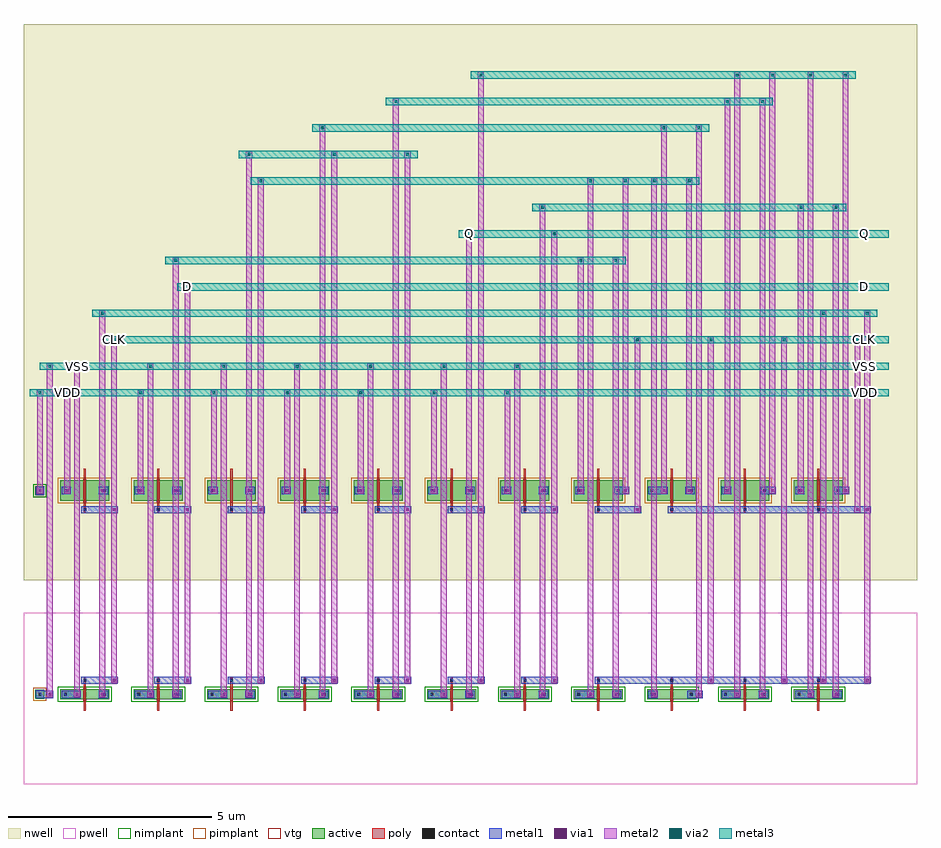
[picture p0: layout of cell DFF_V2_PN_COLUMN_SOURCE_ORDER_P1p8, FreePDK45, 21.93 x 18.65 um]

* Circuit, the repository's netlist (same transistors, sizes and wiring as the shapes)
* cell DFF_V2_PN_COLUMN_SOURCE_ORDER_P1p8
* pin Q
* pin D
* pin CLK
* pin VDD
* pin VSS
.SUBCKT DFF_V2_PN_COLUMN_SOURCE_ORDER_P1p8 5 7 10 11 12
* net 5 Q
* net 7 D
* net 10 CLK
* net 11 VDD
* net 12 VSS
* device instance $1 r0 *1 19.2,7 PMOS_VTG
M$1 9 10 6 11 PMOS_VTG L=0.05U W=0.5U AS=0.2875P AD=0.2875P PS=2.15U PD=2.15U
* device instance $2 r0 *1 17.4,7 PMOS_VTG
M$2 9 10 4 11 PMOS_VTG L=0.05U W=0.5U AS=0.2875P AD=0.2875P PS=2.15U PD=2.15U
* device instance $3 r0 *1 15.6,7 PMOS_VTG
M$3 8 10 3 11 PMOS_VTG L=0.05U W=0.5U AS=0.2875P AD=0.2875P PS=2.15U PD=2.15U
* device instance $4 r0 *1 13.8,7 PMOS_VTG
M$4 8 10 1 11 PMOS_VTG L=0.05U W=0.5U AS=0.2875P AD=0.2875P PS=2.15U PD=2.15U
* device instance $5 r0 *1 12,7 PMOS_VTG
M$5 6 5 11 11 PMOS_VTG L=0.05U W=0.5U AS=0.2875P AD=0.2875P PS=2.15U PD=2.15U
* device instance $6 r0 *1 1.2,7 PMOS_VTG
M$6 10 10 11 11 PMOS_VTG L=0.05U W=0.5U AS=0.2875P AD=0.2875P PS=2.15U PD=2.15U
* device instance $7 r0 *1 10.2,7 PMOS_VTG
M$7 5 9 11 11 PMOS_VTG L=0.05U W=0.5U AS=0.2875P AD=0.2875P PS=2.15U PD=2.15U
* device instance $8 r0 *1 3,7 PMOS_VTG
M$8 1 7 11 11 PMOS_VTG L=0.05U W=0.5U AS=0.2875P AD=0.2875P PS=2.15U PD=2.15U
* device instance $9 r0 *1 4.8,7 PMOS_VTG
M$9 2 8 11 11 PMOS_VTG L=0.05U W=0.5U AS=0.2875P AD=0.2875P PS=2.15U PD=2.15U
* device instance $10 r0 *1 6.6,7 PMOS_VTG
M$10 3 2 11 11 PMOS_VTG L=0.05U W=0.5U AS=0.2875P AD=0.2875P PS=2.15U PD=2.15U
* device instance $11 r0 *1 8.4,7 PMOS_VTG
M$11 4 2 11 11 PMOS_VTG L=0.05U W=0.5U AS=0.2875P AD=0.2875P PS=2.15U PD=2.15U
* device instance $12 r0 *1 19.2,2 NMOS_VTG
M$12 6 10 9 12 NMOS_VTG L=0.05U W=0.25U AS=0.14375P AD=0.14375P PS=1.65U
+ PD=1.65U
* device instance $13 r0 *1 15.6,2 NMOS_VTG
M$13 3 10 8 12 NMOS_VTG L=0.05U W=0.25U AS=0.14375P AD=0.14375P PS=1.65U
+ PD=1.65U
* device instance $14 r0 *1 13.8,2 NMOS_VTG
M$14 1 10 8 12 NMOS_VTG L=0.05U W=0.25U AS=0.14375P AD=0.14375P PS=1.65U
+ PD=1.65U
* device instance $15 r0 *1 12,2 NMOS_VTG
M$15 6 5 12 12 NMOS_VTG L=0.05U W=0.25U AS=0.14375P AD=0.14375P PS=1.65U
+ PD=1.65U
* device instance $16 r0 *1 1.2,2 NMOS_VTG
M$16 10 10 12 12 NMOS_VTG L=0.05U W=0.25U AS=0.14375P AD=0.14375P PS=1.65U
+ PD=1.65U
* device instance $17 r0 *1 17.4,2 NMOS_VTG
M$17 4 10 9 12 NMOS_VTG L=0.05U W=0.25U AS=0.14375P AD=0.14375P PS=1.65U
+ PD=1.65U
* device instance $18 r0 *1 6.6,2 NMOS_VTG
M$18 3 2 12 12 NMOS_VTG L=0.05U W=0.25U AS=0.14375P AD=0.14375P PS=1.65U
+ PD=1.65U
* device instance $19 r0 *1 3,2 NMOS_VTG
M$19 1 7 12 12 NMOS_VTG L=0.05U W=0.25U AS=0.14375P AD=0.14375P PS=1.65U
+ PD=1.65U
* device instance $20 r0 *1 10.2,2 NMOS_VTG
M$20 5 9 12 12 NMOS_VTG L=0.05U W=0.25U AS=0.14375P AD=0.14375P PS=1.65U
+ PD=1.65U
* device instance $21 r0 *1 4.8,2 NMOS_VTG
M$21 2 8 12 12 NMOS_VTG L=0.05U W=0.25U AS=0.14375P AD=0.14375P PS=1.65U
+ PD=1.65U
* device instance $22 r0 *1 8.4,2 NMOS_VTG
M$22 4 2 12 12 NMOS_VTG L=0.05U W=0.25U AS=0.14375P AD=0.14375P PS=1.65U
+ PD=1.65U
.ENDS DFF_V2_PN_COLUMN_SOURCE_ORDER_P1p8

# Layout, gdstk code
import gdstk
lib = gdstk.Library(unit=1e-6, precision=5e-10)
def R(c, l, rs):  # rectangles x0, y0, x1, y1
    for r in rs: c.add(gdstk.rectangle(r[:2], r[2:], *l))
def A(c, l, x, y, w, h, nx, ny, dx, dy):  # array of equal rectangles
    R(c, l, [(x+i*dx, y+j*dy, x+i*dx+w, y+j*dy+h) for i in range(nx) for j in range(ny)])
active = (1, 0)
pwell = (2, 0)
nwell = (3, 0)
nimplant = (4, 0)
pimplant = (5, 0)
vtg = (6, 0)
poly = (9, 0)
contact = (10, 0)
metal1 = (11, 0)
via1 = (12, 0)
metal2 = (13, 0)
via2 = (14, 0)
metal3 = (15, 0)

dff_v2_pn_column_source_ = lib.new_cell('DFF_V2_PN_COLUMN_SOURCE_ORDER_P1p8')
A(dff_v2_pn_column_source_, active, 0.6, 1.875, 1.2, 0.25, 11, 1, 1.8, 0)
A(dff_v2_pn_column_source_, active, 0.6, 6.75, 1.2, 0.5, 11, 1, 1.8, 0)
R(dff_v2_pn_column_source_, active, [(-0.01,1.89,0.21,2.11), (-0.01,6.89,0.21,7.11)])
R(dff_v2_pn_column_source_, pwell, [(-0.3,-0.2,21.63,4)])
R(dff_v2_pn_column_source_, nwell, [(-0.3,4.8,21.63,18.45)])
A(dff_v2_pn_column_source_, nimplant, 0.54, 1.815, 1.32, 0.37, 11, 1, 1.8, 0)
R(dff_v2_pn_column_source_, nimplant, [(-0.06,6.84,0.26,7.16)])
A(dff_v2_pn_column_source_, pimplant, 0.54, 6.69, 1.32, 0.62, 11, 1, 1.8, 0)
R(dff_v2_pn_column_source_, pimplant, [(-0.06,1.84,0.26,2.16)])
A(dff_v2_pn_column_source_, vtg, 1.165, 1.845, 0.07, 0.31, 11, 1, 1.8, 0)
A(dff_v2_pn_column_source_, vtg, 1.165, 6.72, 0.07, 0.56, 11, 1, 1.8, 0)
A(dff_v2_pn_column_source_, poly, 1.175, 1.595, 0.05, 0.81, 11, 1, 1.8, 0)
A(dff_v2_pn_column_source_, poly, 1.175, 6.47, 0.05, 1.06, 11, 1, 1.8, 0)
A(dff_v2_pn_column_source_, contact, 1.17, 2.315, 0.065, 0.065, 11, 2, 1.8, 4.185)
R(dff_v2_pn_column_source_, contact, [(0.07,1.97,0.135,2.035), (0.69,1.97,0.755,2.035), (1.65,1.97,1.715,2.035), (2.49,1.97,2.555,2.035), (3.45,1.97,3.515,2.035), (4.29,1.97,4.355,2.035), (5.25,1.97,5.315,2.035), (6.09,1.97,6.155,2.035), (7.05,1.97,7.115,2.035), (7.89,1.97,7.955,2.035), (8.85,1.97,8.915,2.035), (9.69,1.97,9.755,2.035), (10.65,1.97,10.715,2.035), (11.49,1.97,11.555,2.035), (12.45,1.97,12.515,2.035), (13.29,1.97,13.355,2.035), (14.25,1.97,14.315,2.035), (15.09,1.97,15.155,2.035), (16.05,1.97,16.115,2.035), (16.89,1.97,16.955,2.035), (17.85,1.97,17.915,2.035), (18.69,1.97,18.755,2.035), (19.65,1.97,19.715,2.035), (0.07,6.97,0.135,7.035), (0.69,6.97,0.755,7.035), (1.65,6.97,1.715,7.035), (2.49,6.97,2.555,7.035), (3.45,6.97,3.515,7.035), (4.29,6.97,4.355,7.035), (5.25,6.97,5.315,7.035), (6.09,6.97,6.155,7.035), (7.05,6.97,7.115,7.035), (7.89,6.97,7.955,7.035), (8.85,6.97,8.915,7.035), (9.69,6.97,9.755,7.035), (10.65,6.97,10.715,7.035), (11.49,6.97,11.555,7.035), (12.45,6.97,12.515,7.035), (13.29,6.97,13.355,7.035), (14.25,6.97,14.315,7.035), (15.09,6.97,15.155,7.035), (16.05,6.97,16.115,7.035), (16.89,6.97,16.955,7.035), (17.85,6.97,17.915,7.035), (18.69,6.97,18.755,7.035), (19.65,6.97,19.715,7.035)])
A(dff_v2_pn_column_source_, metal1, 0.77, 1.91, 0.24, 0.18, 8, 1, 1.8, 0)
A(dff_v2_pn_column_source_, metal1, 1.2, 2.255, 0.72, 0.18, 7, 2, 1.8, 4.185)
A(dff_v2_pn_column_source_, metal1, 15.51, 6.44, 0.18, 0.18, 3, 1, 1.8, 0)
R(dff_v2_pn_column_source_, metal1, [(0,1.9,0.2,2.1), (0.1,1.91,0.34,2.09), (0.1,1.91,0.34,2.09), (0.1,1.91,0.34,2.09), (0.1,1.91,0.34,2.09), (0.1,1.91,0.34,2.09), (0.1,1.91,0.34,2.09), (0.1,1.91,0.34,2.09), (0.1,1.91,0.34,2.09), (0.1,1.91,0.34,2.09), (0.1,1.91,0.34,2.09), (0.1,1.91,0.34,2.09), (0.1,1.91,0.34,2.09), (0.25,1.91,0.43,2.09), (0.25,1.91,0.43,2.09), (0.25,1.91,0.43,2.09), (0.25,1.91,0.43,2.09), (0.25,1.91,0.43,2.09), (0.25,1.91,0.43,2.09), (0.25,1.91,0.43,2.09), (0.25,1.91,0.43,2.09), (0.25,1.91,0.43,2.09), (0.25,1.91,0.43,2.09), (0.25,1.91,0.43,2.09), (0.25,1.91,0.43,2.09), (0.63,1.91,0.81,2.09), (0.92,1.91,1.1,2.09), (1.54,1.91,1.72,2.09), (1.59,1.91,1.77,2.09), (2.43,1.91,2.61,2.09), (2.72,1.91,2.9,2.09), (3.34,1.91,3.52,2.09), (3.39,1.91,3.57,2.09), (4.23,1.91,4.41,2.09), (4.52,1.91,4.7,2.09), (5.14,1.91,5.32,2.09), (5.19,1.91,5.37,2.09), (6.03,1.91,6.21,2.09), (6.32,1.91,6.5,2.09), (6.94,1.91,7.12,2.09), (6.99,1.91,7.17,2.09), (7.83,1.91,8.01,2.09), (8.12,1.91,8.3,2.09), (8.74,1.91,8.92,2.09), (8.79,1.91,8.97,2.09), (9.63,1.91,9.81,2.09), (9.92,1.91,10.1,2.09), (10.54,1.91,10.72,2.09), (10.59,1.91,10.77,2.09), (11.43,1.91,11.61,2.09), (11.72,1.91,11.9,2.09), (12.34,1.91,12.52,2.09), (12.39,1.91,12.57,2.09), (13.23,1.91,13.41,2.09), (13.52,1.91,13.7,2.09), (14.14,1.91,14.32,2.09), (14.19,1.91,14.37,2.09), (15.03,1.91,15.21,2.09), (15.08,1.91,15.26,2.09), (15.99,1.91,16.17,2.09), (16.03,1.91,16.27,2.09), (16.18,1.91,16.36,2.09), (16.83,1.91,17.01,2.09), (16.97,1.91,17.21,2.09), (17.12,1.91,17.3,2.09), (17.74,1.91,17.92,2.09), (17.79,1.91,17.97,2.09), (18.63,1.91,18.81,2.09), (18.77,1.91,19.01,2.09), (18.92,1.91,19.1,2.09), (19.54,1.91,19.72,2.09), (19.59,1.91,19.77,2.09), (1.11,2.255,1.29,2.435), (1.83,2.255,2.01,2.435), (2.91,2.255,3.09,2.435), (3.63,2.255,3.81,2.435), (4.71,2.255,4.89,2.435), (5.43,2.255,5.61,2.435), (6.51,2.255,6.69,2.435), (7.23,2.255,7.41,2.435), (8.31,2.255,8.49,2.435), (9.03,2.255,9.21,2.435), (10.11,2.255,10.29,2.435), (10.83,2.255,11.01,2.435), (11.91,2.255,12.09,2.435), (12.63,2.255,12.81,2.435), (13.71,2.255,13.89,2.435), (13.8,2.255,19.32,2.435), (15.51,2.255,15.69,2.435), (15.6,2.255,16.56,2.435), (16.47,2.255,16.65,2.435), (17.31,2.255,17.49,2.435), (17.4,2.255,18.36,2.435), (18.27,2.255,18.45,2.435), (19.11,2.255,19.29,2.435), (19.2,2.255,20.4,2.435), (19.23,2.255,19.41,2.435), (20.31,2.255,20.49,2.435), (1.11,6.44,1.29,6.62), (1.83,6.44,2.01,6.62), (2.91,6.44,3.09,6.62), (3.63,6.44,3.81,6.62), (4.71,6.44,4.89,6.62), (5.43,6.44,5.61,6.62), (6.51,6.44,6.69,6.62), (7.23,6.44,7.41,6.62), (8.31,6.44,8.49,6.62), (9.03,6.44,9.21,6.62), (10.11,6.44,10.29,6.62), (10.83,6.44,11.01,6.62), (11.91,6.44,12.09,6.62), (12.63,6.44,12.81,6.62), (13.71,6.44,13.89,6.62), (13.8,6.44,14.76,6.62), (14.67,6.44,14.85,6.62), (15.6,6.44,20.4,6.62), (17.4,6.44,19.32,6.62), (19.2,6.44,20.16,6.62), (19.23,6.44,19.41,6.62), (20.07,6.44,20.25,6.62), (20.31,6.44,20.49,6.62), (0,6.9,0.2,7.1), (0.01,6.91,0.19,7.09), (0.01,6.91,0.19,7.09), (0.01,6.91,0.19,7.09), (0.01,6.91,0.19,7.09), (0.01,6.91,0.19,7.09), (0.01,6.91,0.19,7.09), (0.01,6.91,0.19,7.09), (0.01,6.91,0.19,7.09), (0.01,6.91,0.19,7.09), (0.01,6.91,0.19,7.09), (0.01,6.91,0.19,7.09), (0.01,6.91,0.19,7.09), (0.63,6.91,0.81,7.09), (0.68,6.91,0.86,7.09), (1.54,6.91,1.72,7.09), (1.59,6.91,1.77,7.09), (2.43,6.91,2.61,7.09), (2.48,6.91,2.66,7.09), (3.34,6.91,3.52,7.09), (3.39,6.91,3.57,7.09), (4.23,6.91,4.41,7.09), (4.28,6.91,4.46,7.09), (5.14,6.91,5.32,7.09), (5.19,6.91,5.37,7.09), (6.03,6.91,6.21,7.09), (6.08,6.91,6.26,7.09), (6.94,6.91,7.12,7.09), (6.99,6.91,7.17,7.09), (7.83,6.91,8.01,7.09), (7.88,6.91,8.06,7.09), (8.74,6.91,8.92,7.09), (8.79,6.91,8.97,7.09), (9.63,6.91,9.81,7.09), (9.68,6.91,9.86,7.09), (10.54,6.91,10.72,7.09), (10.59,6.91,10.77,7.09), (11.43,6.91,11.61,7.09), (11.48,6.91,11.66,7.09), (12.34,6.91,12.52,7.09), (12.39,6.91,12.57,7.09), (13.23,6.91,13.41,7.09), (13.28,6.91,13.46,7.09), (14.19,6.91,14.37,7.09), (14.23,6.91,14.47,7.09), (14.38,6.91,14.56,7.09), (15.03,6.91,15.21,7.09), (15.17,6.91,15.41,7.09), (15.32,6.91,15.5,7.09), (15.94,6.91,16.12,7.09), (15.99,6.91,16.17,7.09), (16.83,6.91,17.01,7.09), (16.88,6.91,17.06,7.09), (17.79,6.91,17.97,7.09), (17.83,6.91,18.07,7.09), (17.98,6.91,18.16,7.09), (18.63,6.91,18.81,7.09), (18.68,6.91,18.86,7.09), (19.59,6.91,19.77,7.09), (19.63,6.91,19.87,7.09), (19.78,6.91,19.96,7.09)])
A(dff_v2_pn_column_source_, via1, 1.89, 2.315, 0.065, 0.065, 7, 2, 1.8, 4.185)
R(dff_v2_pn_column_source_, via1, [(0.31,1.97,0.375,2.035), (0.31,1.97,0.375,2.035), (0.31,1.97,0.375,2.035), (0.31,1.97,0.375,2.035), (0.31,1.97,0.375,2.035), (0.31,1.97,0.375,2.035), (0.31,1.97,0.375,2.035), (0.31,1.97,0.375,2.035), (0.31,1.97,0.375,2.035), (0.31,1.97,0.375,2.035), (0.31,1.97,0.375,2.035), (0.31,1.97,0.375,2.035), (0.98,1.97,1.045,2.035), (1.6,1.97,1.665,2.035), (2.78,1.97,2.845,2.035), (3.4,1.97,3.465,2.035), (4.58,1.97,4.645,2.035), (5.2,1.97,5.265,2.035), (6.38,1.97,6.445,2.035), (7,1.97,7.065,2.035), (8.18,1.97,8.245,2.035), (8.8,1.97,8.865,2.035), (9.98,1.97,10.045,2.035), (10.6,1.97,10.665,2.035), (11.78,1.97,11.845,2.035), (12.4,1.97,12.465,2.035), (13.58,1.97,13.645,2.035), (14.2,1.97,14.265,2.035), (15.14,1.97,15.205,2.035), (16.24,1.97,16.305,2.035), (17.18,1.97,17.245,2.035), (17.8,1.97,17.865,2.035), (18.98,1.97,19.045,2.035), (19.6,1.97,19.665,2.035), (16.53,2.315,16.595,2.38), (18.33,2.315,18.395,2.38), (19.29,2.315,19.355,2.38), (20.37,2.315,20.435,2.38), (14.73,6.5,14.795,6.565), (19.29,6.5,19.355,6.565), (20.13,6.5,20.195,6.565), (20.37,6.5,20.435,6.565), (0.07,6.97,0.135,7.035), (0.07,6.97,0.135,7.035), (0.07,6.97,0.135,7.035), (0.07,6.97,0.135,7.035), (0.07,6.97,0.135,7.035), (0.07,6.97,0.135,7.035), (0.07,6.97,0.135,7.035), (0.07,6.97,0.135,7.035), (0.07,6.97,0.135,7.035), (0.07,6.97,0.135,7.035), (0.07,6.97,0.135,7.035), (0.07,6.97,0.135,7.035), (0.74,6.97,0.805,7.035), (1.6,6.97,1.665,7.035), (2.54,6.97,2.605,7.035), (3.4,6.97,3.465,7.035), (4.34,6.97,4.405,7.035), (5.2,6.97,5.265,7.035), (6.14,6.97,6.205,7.035), (7,6.97,7.065,7.035), (7.94,6.97,8.005,7.035), (8.8,6.97,8.865,7.035), (9.74,6.97,9.805,7.035), (10.6,6.97,10.665,7.035), (11.54,6.97,11.605,7.035), (12.4,6.97,12.465,7.035), (13.34,6.97,13.405,7.035), (14.44,6.97,14.505,7.035), (15.38,6.97,15.445,7.035), (16,6.97,16.065,7.035), (16.94,6.97,17.005,7.035), (18.04,6.97,18.105,7.035), (18.74,6.97,18.805,7.035), (19.84,6.97,19.905,7.035)])
A(dff_v2_pn_column_source_, metal2, 0.94, 2, 0.14, 8.05, 7, 1, 1.8, 0)
A(dff_v2_pn_column_source_, metal2, 1.845, 2.27, 0.15, 0.15, 7, 2, 1.8, 4.185)
A(dff_v2_pn_column_source_, metal2, 0.7, 7, 0.14, 2.4, 7, 1, 1.8, 0)
A(dff_v2_pn_column_source_, metal2, 0.695, 9.325, 0.15, 0.15, 7, 1, 1.8, 0)
A(dff_v2_pn_column_source_, metal2, 0.935, 9.975, 0.15, 0.15, 7, 1, 1.8, 0)
A(dff_v2_pn_column_source_, metal2, 14.685, 10.625, 0.15, 0.15, 4, 1, 1.8, 0)
R(dff_v2_pn_column_source_, metal2, [(0.265,1.925,0.415,2.075), (0.265,1.925,0.415,2.075), (0.265,1.925,0.415,2.075), (0.265,1.925,0.415,2.075), (0.265,1.925,0.415,2.075), (0.265,1.925,0.415,2.075), (0.265,1.925,0.415,2.075), (0.265,1.925,0.415,2.075), (0.265,1.925,0.415,2.075), (0.265,1.925,0.415,2.075), (0.265,1.925,0.415,2.075), (0.265,1.925,0.415,2.075), (0.935,1.925,1.085,2.075), (1.555,1.925,1.705,2.075), (2.735,1.925,2.885,2.075), (3.355,1.925,3.505,2.075), (4.535,1.925,4.685,2.075), (5.155,1.925,5.305,2.075), (6.335,1.925,6.485,2.075), (6.955,1.925,7.105,2.075), (8.135,1.925,8.285,2.075), (8.755,1.925,8.905,2.075), (9.935,1.925,10.085,2.075), (10.555,1.925,10.705,2.075), (11.735,1.925,11.885,2.075), (12.355,1.925,12.505,2.075), (13.535,1.925,13.685,2.075), (14.155,1.925,14.305,2.075), (15.095,1.925,15.245,2.075), (16.195,1.925,16.345,2.075), (17.135,1.925,17.285,2.075), (17.755,1.925,17.905,2.075), (18.935,1.925,19.085,2.075), (19.555,1.925,19.705,2.075), (0.27,2,0.41,10.05), (0.27,2,0.41,10.05), (0.27,2,0.41,10.05), (0.27,2,0.41,10.05), (0.27,2,0.41,10.05), (0.27,2,0.41,10.05), (0.27,2,0.41,10.05), (0.27,2,0.41,10.05), (0.27,2,0.41,10.05), (0.27,2,0.41,10.05), (0.27,2,0.41,10.05), (0.27,2,0.41,10.05), (1.56,2,1.7,11.35), (3.36,2,3.5,12.65), (5.16,2,5.3,15.25), (6.96,2,7.1,15.9), (8.76,2,8.9,16.55), (10.56,2,10.7,13.3), (12.36,2,12.5,13.95), (13.54,2,13.68,14.6), (14.16,2,14.3,12.65), (15.1,2,15.24,14.6), (16.2,2,16.34,15.9), (17.14,2,17.28,17.2), (17.76,2,17.9,16.55), (18.94,2,19.08,17.2), (19.56,2,19.7,13.95), (16.485,2.27,16.635,2.42), (18.285,2.27,18.435,2.42), (19.245,2.27,19.395,2.42), (20.325,2.27,20.475,2.42), (1.85,2.345,1.99,10.7), (3.65,2.345,3.79,12), (5.45,2.345,5.59,14.6), (7.25,2.345,7.39,15.25), (9.05,2.345,9.19,15.25), (10.85,2.345,10.99,17.2), (12.65,2.345,12.79,13.3), (16.49,2.345,16.63,10.7), (18.29,2.345,18.43,10.7), (19.25,2.345,19.39,11.35), (20.33,2.345,20.47,11.35), (14.685,6.455,14.835,6.605), (19.245,6.455,19.395,6.605), (20.085,6.455,20.235,6.605), (20.325,6.455,20.475,6.605), (1.85,6.53,1.99,10.7), (3.65,6.53,3.79,12), (5.45,6.53,5.59,14.6), (7.25,6.53,7.39,15.25), (9.05,6.53,9.19,15.25), (10.85,6.53,10.99,17.2), (12.65,6.53,12.79,13.3), (14.69,6.53,14.83,10.7), (19.25,6.53,19.39,11.35), (20.09,6.53,20.23,10.7), (20.33,6.53,20.47,11.35), (0.025,6.925,0.175,7.075), (0.025,6.925,0.175,7.075), (0.025,6.925,0.175,7.075), (0.025,6.925,0.175,7.075), (0.025,6.925,0.175,7.075), (0.025,6.925,0.175,7.075), (0.025,6.925,0.175,7.075), (0.025,6.925,0.175,7.075), (0.025,6.925,0.175,7.075), (0.025,6.925,0.175,7.075), (0.025,6.925,0.175,7.075), (0.025,6.925,0.175,7.075), (0.695,6.925,0.845,7.075), (1.555,6.925,1.705,7.075), (2.495,6.925,2.645,7.075), (3.355,6.925,3.505,7.075), (4.295,6.925,4.445,7.075), (5.155,6.925,5.305,7.075), (6.095,6.925,6.245,7.075), (6.955,6.925,7.105,7.075), (7.895,6.925,8.045,7.075), (8.755,6.925,8.905,7.075), (9.695,6.925,9.845,7.075), (10.555,6.925,10.705,7.075), (11.495,6.925,11.645,7.075), (12.355,6.925,12.505,7.075), (13.295,6.925,13.445,7.075), (14.395,6.925,14.545,7.075), (15.335,6.925,15.485,7.075), (15.955,6.925,16.105,7.075), (16.895,6.925,17.045,7.075), (17.995,6.925,18.145,7.075), (18.695,6.925,18.845,7.075), (19.795,6.925,19.945,7.075), (0.03,7,0.17,9.4), (0.03,7,0.17,9.4), (0.03,7,0.17,9.4), (0.03,7,0.17,9.4), (0.03,7,0.17,9.4), (0.03,7,0.17,9.4), (0.03,7,0.17,9.4), (0.03,7,0.17,9.4), (0.03,7,0.17,9.4), (0.03,7,0.17,9.4), (0.03,7,0.17,9.4), (0.03,7,0.17,9.4), (1.56,7,1.7,11.35), (3.36,7,3.5,12.65), (5.16,7,5.3,15.25), (6.96,7,7.1,15.9), (8.76,7,8.9,16.55), (10.56,7,10.7,13.3), (12.36,7,12.5,13.95), (13.3,7,13.44,12.65), (14.4,7,14.54,14.6), (15.34,7,15.48,15.9), (15.96,7,16.1,14.6), (16.9,7,17.04,16.55), (18,7,18.14,17.2), (18.7,7,18.84,13.95), (19.8,7,19.94,17.2), (0.025,9.325,0.175,9.475), (0.025,9.325,0.175,9.475), (0.025,9.325,0.175,9.475), (0.025,9.325,0.175,9.475), (0.025,9.325,0.175,9.475), (0.025,9.325,0.175,9.475), (0.025,9.325,0.175,9.475), (0.025,9.325,0.175,9.475), (0.025,9.325,0.175,9.475), (0.025,9.325,0.175,9.475), (0.025,9.325,0.175,9.475), (0.025,9.325,0.175,9.475), (0.265,9.975,0.415,10.125), (0.265,9.975,0.415,10.125), (0.265,9.975,0.415,10.125), (0.265,9.975,0.415,10.125), (0.265,9.975,0.415,10.125), (0.265,9.975,0.415,10.125), (0.265,9.975,0.415,10.125), (0.265,9.975,0.415,10.125), (0.265,9.975,0.415,10.125), (0.265,9.975,0.415,10.125), (0.265,9.975,0.415,10.125), (0.265,9.975,0.415,10.125), (1.845,10.625,1.995,10.775), (1.845,10.625,1.995,10.775), (1.555,11.275,1.705,11.425), (1.555,11.275,1.705,11.425), (19.245,11.275,19.395,11.425), (19.245,11.275,19.395,11.425), (20.325,11.275,20.475,11.425), (20.325,11.275,20.475,11.425), (3.645,11.925,3.795,12.075), (3.645,11.925,3.795,12.075), (3.355,12.575,3.505,12.725), (3.355,12.575,3.505,12.725), (13.295,12.575,13.445,12.725), (14.155,12.575,14.305,12.725), (10.555,13.225,10.705,13.375), (10.555,13.225,10.705,13.375), (12.645,13.225,12.795,13.375), (12.645,13.225,12.795,13.375), (12.355,13.875,12.505,14.025), (12.355,13.875,12.505,14.025), (18.695,13.875,18.845,14.025), (19.555,13.875,19.705,14.025), (5.445,14.525,5.595,14.675), (5.445,14.525,5.595,14.675), (13.535,14.525,13.685,14.675), (14.395,14.525,14.545,14.675), (15.095,14.525,15.245,14.675), (15.955,14.525,16.105,14.675), (5.155,15.175,5.305,15.325), (5.155,15.175,5.305,15.325), (7.245,15.175,7.395,15.325), (7.245,15.175,7.395,15.325), (9.045,15.175,9.195,15.325), (9.045,15.175,9.195,15.325), (6.955,15.825,7.105,15.975), (6.955,15.825,7.105,15.975), (15.335,15.825,15.485,15.975), (16.195,15.825,16.345,15.975), (8.755,16.475,8.905,16.625), (8.755,16.475,8.905,16.625), (16.895,16.475,17.045,16.625), (17.755,16.475,17.905,16.625), (10.845,17.125,10.995,17.275), (10.845,17.125,10.995,17.275), (17.135,17.125,17.285,17.275), (17.995,17.125,18.145,17.275), (18.935,17.125,19.085,17.275), (19.795,17.125,19.945,17.275)])
A(dff_v2_pn_column_source_, via2, 0.74, 9.37, 0.065, 0.065, 7, 1, 1.8, 0)
A(dff_v2_pn_column_source_, via2, 0.98, 10.02, 0.065, 0.065, 7, 1, 1.8, 0)
A(dff_v2_pn_column_source_, via2, 14.73, 10.67, 0.065, 0.065, 4, 1, 1.8, 0)
R(dff_v2_pn_column_source_, via2, [(0.07,9.37,0.135,9.435), (0.07,9.37,0.135,9.435), (0.07,9.37,0.135,9.435), (0.07,9.37,0.135,9.435), (0.07,9.37,0.135,9.435), (0.07,9.37,0.135,9.435), (0.07,9.37,0.135,9.435), (0.07,9.37,0.135,9.435), (0.07,9.37,0.135,9.435), (0.07,9.37,0.135,9.435), (0.07,9.37,0.135,9.435), (0.07,9.37,0.135,9.435), (0.31,10.02,0.375,10.085), (0.31,10.02,0.375,10.085), (0.31,10.02,0.375,10.085), (0.31,10.02,0.375,10.085), (0.31,10.02,0.375,10.085), (0.31,10.02,0.375,10.085), (0.31,10.02,0.375,10.085), (0.31,10.02,0.375,10.085), (0.31,10.02,0.375,10.085), (0.31,10.02,0.375,10.085), (0.31,10.02,0.375,10.085), (0.31,10.02,0.375,10.085), (1.89,10.67,1.955,10.735), (1.89,10.67,1.955,10.735), (1.6,11.32,1.665,11.385), (1.6,11.32,1.665,11.385), (19.29,11.32,19.355,11.385), (19.29,11.32,19.355,11.385), (20.37,11.32,20.435,11.385), (20.37,11.32,20.435,11.385), (3.69,11.97,3.755,12.035), (3.69,11.97,3.755,12.035), (3.4,12.62,3.465,12.685), (3.4,12.62,3.465,12.685), (13.34,12.62,13.405,12.685), (14.2,12.62,14.265,12.685), (10.6,13.27,10.665,13.335), (10.6,13.27,10.665,13.335), (12.69,13.27,12.755,13.335), (12.69,13.27,12.755,13.335), (12.4,13.92,12.465,13.985), (12.4,13.92,12.465,13.985), (18.74,13.92,18.805,13.985), (19.6,13.92,19.665,13.985), (5.49,14.57,5.555,14.635), (5.49,14.57,5.555,14.635), (13.58,14.57,13.645,14.635), (14.44,14.57,14.505,14.635), (15.14,14.57,15.205,14.635), (16,14.57,16.065,14.635), (5.2,15.22,5.265,15.285), (5.2,15.22,5.265,15.285), (7.29,15.22,7.355,15.285), (7.29,15.22,7.355,15.285), (9.09,15.22,9.155,15.285), (9.09,15.22,9.155,15.285), (7,15.87,7.065,15.935), (7,15.87,7.065,15.935), (15.38,15.87,15.445,15.935), (16.24,15.87,16.305,15.935), (8.8,16.52,8.865,16.585), (8.8,16.52,8.865,16.585), (16.94,16.52,17.005,16.585), (17.8,16.52,17.865,16.585), (10.89,17.17,10.955,17.235), (10.89,17.17,10.955,17.235), (17.18,17.17,17.245,17.235), (18.04,17.17,18.105,17.235), (18.98,17.17,19.045,17.235), (19.84,17.17,19.905,17.235)])
A(dff_v2_pn_column_source_, metal3, 0.695, 9.325, 0.15, 0.15, 7, 1, 1.8, 0)
A(dff_v2_pn_column_source_, metal3, 0.935, 9.975, 0.15, 0.15, 7, 1, 1.8, 0)
A(dff_v2_pn_column_source_, metal3, 14.685, 10.625, 0.15, 0.15, 4, 1, 1.8, 0)
R(dff_v2_pn_column_source_, metal3, [(-0.15,9.31,11.82,9.49), (11.82,9.31,20.93,9.49), (0.025,9.325,0.175,9.475), (0.025,9.325,0.175,9.475), (0.025,9.325,0.175,9.475), (0.025,9.325,0.175,9.475), (0.025,9.325,0.175,9.475), (0.025,9.325,0.175,9.475), (0.025,9.325,0.175,9.475), (0.025,9.325,0.175,9.475), (0.025,9.325,0.175,9.475), (0.025,9.325,0.175,9.475), (0.025,9.325,0.175,9.475), (0.025,9.325,0.175,9.475), (0.09,9.96,12.06,10.14), (12.06,9.96,20.93,10.14), (0.265,9.975,0.415,10.125), (0.265,9.975,0.415,10.125), (0.265,9.975,0.415,10.125), (0.265,9.975,0.415,10.125), (0.265,9.975,0.415,10.125), (0.265,9.975,0.415,10.125), (0.265,9.975,0.415,10.125), (0.265,9.975,0.415,10.125), (0.265,9.975,0.415,10.125), (0.265,9.975,0.415,10.125), (0.265,9.975,0.415,10.125), (0.265,9.975,0.415,10.125), (1.67,10.61,20.41,10.79), (20.41,10.61,20.93,10.79), (1.845,10.625,1.995,10.775), (1.845,10.625,1.995,10.775), (1.38,11.26,20.65,11.44), (1.555,11.275,1.705,11.425), (1.555,11.275,1.705,11.425), (19.245,11.275,19.395,11.425), (19.245,11.275,19.395,11.425), (20.325,11.275,20.475,11.425), (20.325,11.275,20.475,11.425), (3.47,11.91,3.97,12.09), (3.97,11.91,20.93,12.09), (3.645,11.925,3.795,12.075), (3.645,11.925,3.795,12.075), (3.18,12.56,14.48,12.74), (3.355,12.575,3.505,12.725), (3.355,12.575,3.505,12.725), (13.295,12.575,13.445,12.725), (14.155,12.575,14.305,12.725), (10.38,13.21,12.97,13.39), (12.97,13.21,20.93,13.39), (10.555,13.225,10.705,13.375), (10.555,13.225,10.705,13.375), (12.645,13.225,12.795,13.375), (12.645,13.225,12.795,13.375), (12.18,13.86,19.88,14.04), (12.355,13.875,12.505,14.025), (12.355,13.875,12.505,14.025), (18.695,13.875,18.845,14.025), (19.555,13.875,19.705,14.025), (5.27,14.51,16.28,14.69), (5.445,14.525,5.595,14.675), (5.445,14.525,5.595,14.675), (13.535,14.525,13.685,14.675), (14.395,14.525,14.545,14.675), (15.095,14.525,15.245,14.675), (15.955,14.525,16.105,14.675), (4.98,15.16,9.37,15.34), (5.155,15.175,5.305,15.325), (5.155,15.175,5.305,15.325), (7.245,15.175,7.395,15.325), (7.245,15.175,7.395,15.325), (9.045,15.175,9.195,15.325), (9.045,15.175,9.195,15.325), (6.78,15.81,16.52,15.99), (6.955,15.825,7.105,15.975), (6.955,15.825,7.105,15.975), (15.335,15.825,15.485,15.975), (16.195,15.825,16.345,15.975), (8.58,16.46,18.08,16.64), (8.755,16.475,8.905,16.625), (8.755,16.475,8.905,16.625), (16.895,16.475,17.045,16.625), (17.755,16.475,17.905,16.625), (10.67,17.11,20.12,17.29), (10.845,17.125,10.995,17.275), (10.845,17.125,10.995,17.275), (17.135,17.125,17.285,17.275), (17.995,17.125,18.145,17.275), (18.935,17.125,19.085,17.275), (19.795,17.125,19.945,17.275)])
dff_v2_pn_column_source_.add(gdstk.Label('VDD', (20.33,9.4), layer=15, texttype=0))
dff_v2_pn_column_source_.add(gdstk.Label('VDD', (20.33,9.4), layer=15, texttype=1))
dff_v2_pn_column_source_.add(gdstk.Label('VDD', (20.33,9.4), layer=15, texttype=2))
dff_v2_pn_column_source_.add(gdstk.Label('VDD', (0.77,9.4), layer=13, texttype=0))
dff_v2_pn_column_source_.add(gdstk.Label('VDD', (0.77,9.4), layer=13, texttype=1))
dff_v2_pn_column_source_.add(gdstk.Label('VDD', (0.77,9.4), layer=13, texttype=2))
dff_v2_pn_column_source_.add(gdstk.Label('VSS', (20.33,10.05), layer=15, texttype=0))
dff_v2_pn_column_source_.add(gdstk.Label('VSS', (20.33,10.05), layer=15, texttype=1))
dff_v2_pn_column_source_.add(gdstk.Label('VSS', (20.33,10.05), layer=15, texttype=2))
dff_v2_pn_column_source_.add(gdstk.Label('VSS', (1.01,10.05), layer=13, texttype=0))
dff_v2_pn_column_source_.add(gdstk.Label('VSS', (1.01,10.05), layer=13, texttype=1))
dff_v2_pn_column_source_.add(gdstk.Label('VSS', (1.01,10.05), layer=13, texttype=2))
dff_v2_pn_column_source_.add(gdstk.Label('D', (20.33,12), layer=15, texttype=0))
dff_v2_pn_column_source_.add(gdstk.Label('D', (20.33,12), layer=15, texttype=1))
dff_v2_pn_column_source_.add(gdstk.Label('D', (20.33,12), layer=15, texttype=2))
dff_v2_pn_column_source_.add(gdstk.Label('D', (3.72,12), layer=13, texttype=0))
dff_v2_pn_column_source_.add(gdstk.Label('D', (3.72,12), layer=13, texttype=1))
dff_v2_pn_column_source_.add(gdstk.Label('D', (3.72,12), layer=13, texttype=2))
dff_v2_pn_column_source_.add(gdstk.Label('Q', (20.33,13.3), layer=15, texttype=0))
dff_v2_pn_column_source_.add(gdstk.Label('Q', (20.33,13.3), layer=15, texttype=1))
dff_v2_pn_column_source_.add(gdstk.Label('Q', (20.33,13.3), layer=15, texttype=2))
dff_v2_pn_column_source_.add(gdstk.Label('Q', (10.63,13.3), layer=13, texttype=0))
dff_v2_pn_column_source_.add(gdstk.Label('Q', (10.63,13.3), layer=13, texttype=1))
dff_v2_pn_column_source_.add(gdstk.Label('Q', (10.63,13.3), layer=13, texttype=2))
dff_v2_pn_column_source_.add(gdstk.Label('CLK', (20.33,10.7), layer=15, texttype=0))
dff_v2_pn_column_source_.add(gdstk.Label('CLK', (20.33,10.7), layer=15, texttype=1))
dff_v2_pn_column_source_.add(gdstk.Label('CLK', (20.33,10.7), layer=15, texttype=2))
dff_v2_pn_column_source_.add(gdstk.Label('CLK', (1.92,10.7), layer=13, texttype=0))
dff_v2_pn_column_source_.add(gdstk.Label('CLK', (1.92,10.7), layer=13, texttype=1))
dff_v2_pn_column_source_.add(gdstk.Label('CLK', (1.92,10.7), layer=13, texttype=2))

lib.write_gds('DFF_V2_PN_COLUMN_SOURCE_ORDER_P1p8.gds')
